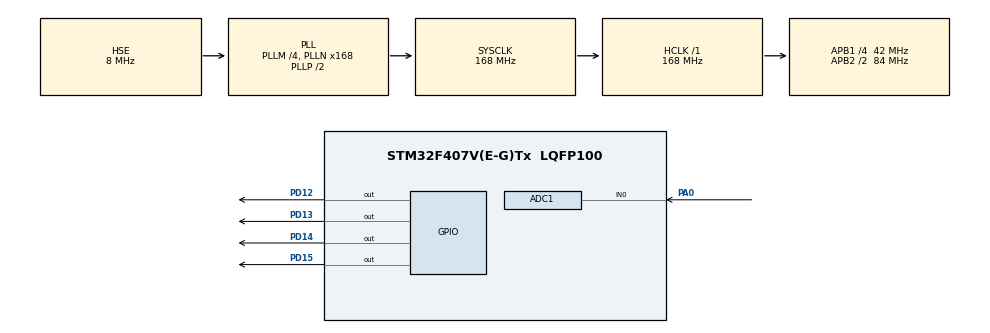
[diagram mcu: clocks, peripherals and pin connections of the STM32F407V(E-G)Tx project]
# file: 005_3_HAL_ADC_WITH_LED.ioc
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ADC1.Channel-0\#ChannelRegularConversion=ADC_CHANNEL_0
ADC1.NbrOfConversionFlag=1
ADC1.Rank-0\#ChannelRegularConversion=1
ADC1.SamplingTime-0\#ChannelRegularConversion=ADC_SAMPLETIME_56CYCLES
ADC1.master=1
Mcu.Family=STM32F4
Mcu.Name=STM32F407V(E-G)Tx
Mcu.Package=LQFP100
NVIC.PriorityGroup=NVIC_PRIORITYGROUP_4
PA0-WKUP.Signal=ADCx_IN0
PD12.GPIO_Speed=GPIO_SPEED_FREQ_VERY_HIGH
PD12.Signal=GPIO_Output
PD13.GPIO_Speed=GPIO_SPEED_FREQ_VERY_HIGH
PD13.Signal=GPIO_Output
PD14.GPIO_Speed=GPIO_SPEED_FREQ_VERY_HIGH
PD14.Signal=GPIO_Output
PD15.GPIO_Speed=GPIO_SPEED_FREQ_VERY_HIGH
PD15.Signal=GPIO_Output
PH0-OSC_IN.Mode=HSE-External-Oscillator
PH0-OSC_IN.Signal=RCC_OSC_IN
PH1-OSC_OUT.Mode=HSE-External-Oscillator
PH1-OSC_OUT.Signal=RCC_OSC_OUT
ProjectManager.HeapSize=0x200
ProjectManager.StackSize=0x400
ProjectManager.TargetToolchain=TrueSTUDIO
RCC.48MHZClocksFreq_Value=84000000
RCC.AHBFreq_Value=168000000
RCC.APB1CLKDivider=RCC_HCLK_DIV4
RCC.APB1Freq_Value=42000000
RCC.APB1TimFreq_Value=84000000
RCC.APB2CLKDivider=RCC_HCLK_DIV2
RCC.APB2Freq_Value=84000000
RCC.APB2TimFreq_Value=168000000
RCC.CortexFreq_Value=168000000
RCC.HCLKFreq_Value=168000000
RCC.HSE_VALUE=8000000
RCC.HSI_VALUE=16000000
RCC.LSE_VALUE=32768
RCC.PLLM=4
RCC.PLLN=168
RCC.PLLSourceVirtual=RCC_PLLSOURCE_HSE
RCC.SYSCLKFreq_VALUE=168000000
RCC.SYSCLKSource=RCC_SYSCLKSOURCE_PLLCLK
RCC.VCOOutputFreq_Value=336000000
SH.ADCx_IN0.0=ADC1_IN0,IN0
board=custom

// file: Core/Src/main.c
/* USER CODE BEGIN Header */
/**
  ******************************************************************************
  * @file           : main.c
  * @brief          : Main program body
  ******************************************************************************
  * @attention
  *
  * <h2><center>&copy; Copyright (c) 2021 STMicroelectronics.
  * All rights reserved.</center></h2>
  *
  * This software component is licensed by ST under BSD 3-Clause license,
  * the "License"; You may not use this file except in compliance with the
  * License. You may obtain a copy of the License at:
  *                        opensource.org/licenses/BSD-3-Clause
  *
  ******************************************************************************
  */
/* USER CODE END Header */
#include "main.h"

/* USER CODE BEGIN Includes */
uint16_t ADC_Value;
/* USER CODE END Includes */

ADC_HandleTypeDef hadc1;

void SystemClock_Config(void);
static void MX_GPIO_Init(void);
static void MX_ADC1_Init(void);

/* USER CODE BEGIN 0 */
void Read_ADC()
{
	HAL_ADC_Start(&hadc1);

	if(HAL_ADC_PollForConversion(&hadc1, 10000) == HAL_OK)
	{
		ADC_Value = HAL_ADC_GetValue(&hadc1);
	}
	if(ADC_Value < 50)
	{
		HAL_GPIO_WritePin(GPIOD, GPIO_PIN_All, GPIO_PIN_RESET);
	}
	else if(ADC_Value >= 50 && ADC_Value < 100)
	{
		HAL_GPIO_WritePin(GPIOD, GPIO_PIN_12, GPIO_PIN_SET);
		HAL_GPIO_WritePin(GPIOD, GPIO_PIN_13 | GPIO_PIN_14 | GPIO_PIN_15, GPIO_PIN_RESET);
	}
	else if(ADC_Value >= 100 && ADC_Value < 150)
	{
		HAL_GPIO_WritePin(GPIOD, GPIO_PIN_12 | GPIO_PIN_13, GPIO_PIN_SET);
		HAL_GPIO_WritePin(GPIOD, GPIO_PIN_14 | GPIO_PIN_15, GPIO_PIN_RESET);
	}
	else if(ADC_Value >= 150 && ADC_Value < 200)
	{
		HAL_GPIO_WritePin(GPIOD, GPIO_PIN_12 | GPIO_PIN_13 | GPIO_PIN_14, GPIO_PIN_SET);
		HAL_GPIO_WritePin(GPIOD, GPIO_PIN_15, GPIO_PIN_RESET);
	}
	else if(ADC_Value >= 200)
	{
		HAL_GPIO_WritePin(GPIOD, GPIO_PIN_All, GPIO_PIN_SET);
	}

	HAL_ADC_Stop(&hadc1);
}
/* USER CODE END 0 */

int main(void)
{

  /* MCU Configuration--------------------------------------------------------*/

  /* Reset of all peripherals, Initializes the Flash interface and the Systick. */
  HAL_Init();

  /* Configure the system clock */
  SystemClock_Config();

  /* Initialize all configured peripherals */
  MX_GPIO_Init();
  MX_ADC1_Init();

  /* Infinite loop */
  while (1)
  {

    /* USER CODE BEGIN 3 */
	  Read_ADC();
  }
  /* USER CODE END 3 */
}

void SystemClock_Config(void)
{
  RCC_OscInitTypeDef RCC_OscInitStruct = {0};
  RCC_ClkInitTypeDef RCC_ClkInitStruct = {0};

  /** Configure the main internal regulator output voltage
  */
  __HAL_RCC_PWR_CLK_ENABLE();
  __HAL_PWR_VOLTAGESCALING_CONFIG(PWR_REGULATOR_VOLTAGE_SCALE1);
  /** Initializes the RCC Oscillators according to the specified parameters
  * in the RCC_OscInitTypeDef structure.
  */
  RCC_OscInitStruct.OscillatorType = RCC_OSCILLATORTYPE_HSE;
  RCC_OscInitStruct.HSEState = RCC_HSE_ON;
  RCC_OscInitStruct.PLL.PLLState = RCC_PLL_ON;
  RCC_OscInitStruct.PLL.PLLSource = RCC_PLLSOURCE_HSE;
  RCC_OscInitStruct.PLL.PLLM = 4;
  RCC_OscInitStruct.PLL.PLLN = 168;
  RCC_OscInitStruct.PLL.PLLP = RCC_PLLP_DIV2;
  RCC_OscInitStruct.PLL.PLLQ = 4;
  if (HAL_RCC_OscConfig(&RCC_OscInitStruct) != HAL_OK)
  {
    Error_Handler();
  }
  /** Initializes the CPU, AHB and APB buses clocks
  */
  RCC_ClkInitStruct.ClockType = RCC_CLOCKTYPE_HCLK|RCC_CLOCKTYPE_SYSCLK
                              |RCC_CLOCKTYPE_PCLK1|RCC_CLOCKTYPE_PCLK2;
  RCC_ClkInitStruct.SYSCLKSource = RCC_SYSCLKSOURCE_PLLCLK;
  RCC_ClkInitStruct.AHBCLKDivider = RCC_SYSCLK_DIV1;
  RCC_ClkInitStruct.APB1CLKDivider = RCC_HCLK_DIV4;
  RCC_ClkInitStruct.APB2CLKDivider = RCC_HCLK_DIV2;

  if (HAL_RCC_ClockConfig(&RCC_ClkInitStruct, FLASH_LATENCY_5) != HAL_OK)
  {
    Error_Handler();
  }
}

static void MX_ADC1_Init(void)
{

  ADC_ChannelConfTypeDef sConfig = {0};

  /** Configure the global features of the ADC (Clock, Resolution, Data Alignment and number of conversion)
  */
  hadc1.Instance = ADC1;
  hadc1.Init.ClockPrescaler = ADC_CLOCK_SYNC_PCLK_DIV4;
  hadc1.Init.Resolution = ADC_RESOLUTION_12B;
  hadc1.Init.ScanConvMode = DISABLE;
  hadc1.Init.ContinuousConvMode = DISABLE;
  hadc1.Init.DiscontinuousConvMode = DISABLE;
  hadc1.Init.ExternalTrigConvEdge = ADC_EXTERNALTRIGCONVEDGE_NONE;
  hadc1.Init.ExternalTrigConv = ADC_SOFTWARE_START;
  hadc1.Init.DataAlign = ADC_DATAALIGN_RIGHT;
  hadc1.Init.NbrOfConversion = 1;
  hadc1.Init.DMAContinuousRequests = DISABLE;
  hadc1.Init.EOCSelection = ADC_EOC_SINGLE_CONV;
  if (HAL_ADC_Init(&hadc1) != HAL_OK)
  {
    Error_Handler();
  }
  /** Configure for the selected ADC regular channel its corresponding rank in the sequencer and its sample time.
  */
  sConfig.Channel = ADC_CHANNEL_0;
  sConfig.Rank = 1;
  sConfig.SamplingTime = ADC_SAMPLETIME_56CYCLES;
  if (HAL_ADC_ConfigChannel(&hadc1, &sConfig) != HAL_OK)
  {
    Error_Handler();
  }

}

static void MX_GPIO_Init(void)
{
  GPIO_InitTypeDef GPIO_InitStruct = {0};

  /* GPIO Ports Clock Enable */
  __HAL_RCC_GPIOH_CLK_ENABLE();
  __HAL_RCC_GPIOA_CLK_ENABLE();
  __HAL_RCC_GPIOD_CLK_ENABLE();

  /*Configure GPIO pin Output Level */
  HAL_GPIO_WritePin(GPIOD, GPIO_PIN_12|GPIO_PIN_13|GPIO_PIN_14|GPIO_PIN_15, GPIO_PIN_RESET);

  /*Configure GPIO pins : PD12 PD13 PD14 PD15 */
  GPIO_InitStruct.Pin = GPIO_PIN_12|GPIO_PIN_13|GPIO_PIN_14|GPIO_PIN_15;
  GPIO_InitStruct.Mode = GPIO_MODE_OUTPUT_PP;
  GPIO_InitStruct.Pull = GPIO_NOPULL;
  GPIO_InitStruct.Speed = GPIO_SPEED_FREQ_VERY_HIGH;
  HAL_GPIO_Init(GPIOD, &GPIO_InitStruct);

}

void Error_Handler(void)
{
  __disable_irq();
  while (1)
  {
  }
}

/************************ (C) COPYRIGHT STMicroelectronics *****END OF FILE****/
